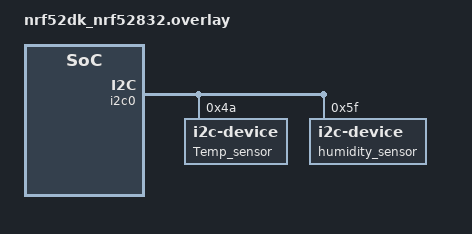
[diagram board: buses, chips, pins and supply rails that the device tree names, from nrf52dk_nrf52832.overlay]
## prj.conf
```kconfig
# nothing here
CONFIG_I2C=y
CONFIG_CBPRINTF_FP_SUPPORT=y

CONFIG_DEBUG_OPTIMIZATIONS=y

CONFIG_DEBUG_THREAD_INFO=y
CONFIG_LOG=y
```

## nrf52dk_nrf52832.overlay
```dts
// To get started, press Ctrl+Space to bring up the completion menu and view the available nodes.

// You can also use the buttons in the sidebar to perform actions on nodes.
// Actions currently available include:

// * Enabling / disabling the node
// * Adding the bus to a bus
// * Removing the node
// * Connecting ADC channels

// For more help, browse the DeviceTree documentation at https://docs.zephyrproject.org/latest/guides/dts/index.html
// You can also visit the nRF DeviceTree extension documentation at https://nrfconnect.github.io/vscode-nrf-connect/devicetree/nrfdevicetree.html

&i2c0 {  
    mysensor: mysensor@4a{
        compatible = "i2c-device";
        status = "okay";
        reg = < 0x4a >; //configuration register value for STTS751 Temperature sensor
        label="Temp_sensor";
    };


    humidity_sensor: humidity_sensor@5F{
        compatible = "i2c-device";
        status = "okay";
        reg = < 0x5F >; //configuration register value for STTS751 Temperature sensor
        label="humidity_sensor";
    };
};
```

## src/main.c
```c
/*
 * Copyright (c) 2016 Intel Corporation
 *
 * SPDX-License-Identifier: Apache-2.0
 */

#include <zephyr/kernel.h>
#include <zephyr/device.h>
#include <zephyr/devicetree.h>
/* STEP 3 - Include the header file of the I2C API */
#include <zephyr/drivers/i2c.h>

/* STEP 4.1 - Include the header file of printk() */
#include <zephyr/sys/printk.h>

/* 1000 msec = 1 sec */
#define SLEEP_TIME_MS   1000

/* STEP 8 - Define the I2C slave device address and the addresses of relevant registers */
#define STTS751_TEMP_HIGH_REG            0x00
#define STTS751_TEMP_LOW_REG             0x02
#define STTS751_CONFIG_REG               0x03
#define STTS751_CONV_REG                 0x04
#define STTS751_STATUS_REG               0x01

#define PRIORITY 7

#define STACKSIZE 1024

/* STEP 6 - Get the node identifier of the sensor */
#define I2C0_NODE DT_NODELABEL(mysensor)

static const struct i2c_dt_spec dev_i2c = I2C_DT_SPEC_GET(I2C0_NODE);



void temp_data(void);
float tem_sensor_read(void);
void temp_sensor_init(void);
void thread0(void);

float value;


void temp_data(void)
{
		
			
		
		int ret;

/* STEP 7 - Retrieve the API-specific device structure and make sure that the device is ready to use  */
// static const struct i2c_dt_spec dev_i2c = I2C_DT_SPEC_GET(I2C0_NODE);
if (!device_is_ready(dev_i2c.bus)) {
	printk("I2C bus %s is not ready!\n\r",dev_i2c.bus->name);
	return;
}


/* STEP 9 - Setup the sensor by writing the value 0x8C to the Configuration register */
uint8_t config[2] = {STTS751_CONFIG_REG,0x8C};
	ret = i2c_write_dt(&dev_i2c, config, sizeof(config));
	if(ret != 0){
		printk("Failed to write to I2C device address %x at Reg. %x \n", dev_i2c.addr,config[0]);
		return;
	}

while(true)
{

/* STEP 10 - Read the temperature from the sensor */
uint8_t temp_reading[2]= {0};
uint8_t sensor_regs[2] ={STTS751_TEMP_LOW_REG,STTS751_TEMP_HIGH_REG};
ret = i2c_write_read_dt(&dev_i2c,&sensor_regs[0],1,&temp_reading[0],1);
if(ret != 0){
	printk("Failed to write/read I2C device address %x at Reg. %x \r\n", dev_i2c.addr,sensor_regs[0]);
}
ret = i2c_write_read_dt(&dev_i2c,&sensor_regs[1],1,&temp_reading[1],1);
if(ret != 0){
	printk("Failed to write/read I2C device address %x at Reg. %x \r\n", dev_i2c.addr,sensor_regs[1]);
}


/* STEP 11 - Convert the two bytes to a 12-bits */
int temp = ((int)temp_reading[1] * 256 + ((int)temp_reading[0] & 0xF0)) / 16;
if(temp > 2047)
{
	temp -= 4096;
}

// Convert to engineering units 
double cTemp = temp * 0.0625;
double fTemp = cTemp * 1.8 + 32;

value=cTemp;

//Print reading to console  
printk("Temperature in Celsius : %.2f C \n", value);
printk("Temperature in Fahrenheit : %.2f F \n", fTemp);

		k_msleep(SLEEP_TIME_MS);
 }
	}




void temp_sensor_init(void)
{
// #define SLEEP_TIME_MS   1000

/* STEP 8 - Define the I2C slave device address and the addresses of relevant registers */


/* STEP 6 - Get the node identifier of the sensor */

	int ret=0;

uint8_t temp_status_reading=0;
uint8_t status_reg[1]={STTS751_STATUS_REG};

/* STEP 7 - Retrieve the API-specific device structure and make sure that the device is ready to use  */

if (!device_is_ready(dev_i2c.bus)) {
	// printk("I2C bus %s is not ready!\n\r",dev_i2c.bus->name);
	return;
}


/* STEP 9 - Setup the sensor by writing the value 0x8C to the Configuration register */
uint8_t config1[2] = {STTS751_CONFIG_REG,0x8C};
	ret = i2c_write_dt(&dev_i2c, config1, sizeof(config1));
	if(ret != 0){
		// printk("Failed to write to I2C device address %x at Reg. %x \n", dev_i2c.addr,config[0]);
		return;
	}


	uint8_t config2[2] = {STTS751_CONV_REG,0x08};
	ret = i2c_write_dt(&dev_i2c, config2, sizeof(config2));
	if(ret != 0){
		// printk("Failed to write to I2C device address %x at Reg. %x \n", dev_i2c.addr,config[0]);
		return;
	}




}



float tem_sensor_read(void)
{

	float val;
    int ret;

		// while(1)

{
/* STEP 10 - Read the temperature from the sensor */
uint8_t temp_reading[2]= {0};
uint8_t sensor_regs[2] ={STTS751_TEMP_LOW_REG,STTS751_TEMP_HIGH_REG};
ret = i2c_write_read_dt(&dev_i2c,&sensor_regs[0],1,&temp_reading[0],1);
if(ret != 0){
	// printk("Failed to write/read I2C device address %x at Reg. %x \r\n", dev_i2c.addr,sensor_regs[0]);
}
ret = i2c_write_read_dt(&dev_i2c,&sensor_regs[1],1,&temp_reading[1],1);
if(ret != 0){
	// printk("Failed to write/read I2C device address %x at Reg. %x \r\n", dev_i2c.addr,sensor_regs[1]);
}


/* STEP 11 - Convert the two bytes to a 12-bits */
int temp = ((int)temp_reading[1] * 256 + ((int)temp_reading[0] & 0xF0))/16;
if(temp > 2047)
{
	temp -= 4096;
}

// Convert to engineering units 
float cTemp = temp * 0.0625;
float fTemp = cTemp * 1.8 + 32;

//Print reading to console  
// printk("04:Temperature in Celsius : %d C \n", temp);
// printk("Temperature in Fahrenheit : %d F \n", temp_reading[1]);
     k_msleep(SLEEP_TIME_MS);
	 value=cTemp;
	
printk("thread says fix this boy\n");
printk("t: is %f:\n",cTemp);
// k_msleep(SLEEP_TIME_MS);

 return cTemp;



}
}














void thread0(void)
{
	float val;
	temp_sensor_init();
	while (1) {
		    //   val=tem_sensor_read();
		  /* STEP 3 - Call printk() to display a simple string "Hello, I am thread0" */
		  printk("Hello, I am thread0\n");
		 printk("hm temp_sensor: is %f:\n",tem_sensor_read());
		  /* STEP 6 - Make the thread yield */
          //k_yield();
		  /* STEP 10 - Put the thread to sleep */
		  k_msleep(1000);
		  /* Remember to comment out the line from STEP 6 */
	}
}	


// void main(void)
// {


// while(1)

// {

// //    temp_data();


// }





// }

 K_THREAD_DEFINE(send_humidity_thread_id, STACKSIZE, temp_data, NULL,  NULL,
		NULL, PRIORITY, 0, 1000); 
```
